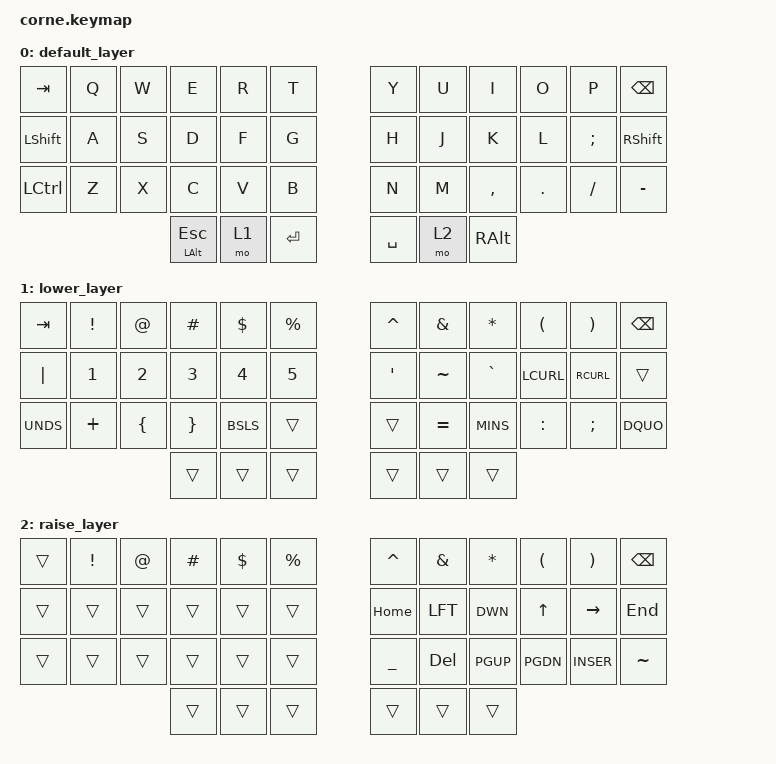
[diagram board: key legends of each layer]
/*
 * Copyright (c) 2020 The ZMK Contributors
 *
 * SPDX-License-Identifier: MIT
 */

#include <behaviors.dtsi>
#include <dt-bindings/zmk/keys.h>
#include <dt-bindings/zmk/bt.h>

/ {
        keymap {
                compatible = "zmk,keymap";

                default_layer {
// -----------------------------------------------------------------------------------------
// |  TAB |  Q  |  W  |  E  |  R  |  T  |   |  Y  |  U   |  I  |  O  |  P  | BSPC |
// | CTRL |  A  |  S  |  D  |  F  |  G  |   |  H  |  J   |  K  |  L  |  ;  |  '   |
// | SHFT |  Z  |  X  |  C  |  V  |  B  |   |  N  |  M   |  ,  |  .  |  /  | ESC  |
//                    | GUI | LWR | SPC |   | ENT | RSE  | ALT |
                        bindings = <
   &kp TAB   &kp Q &kp W &kp E &kp R &kp T   &kp Y &kp U  &kp I     &kp O   &kp P    &kp BSPC
   &kp LSHFT &kp A &kp S &kp D &kp F &kp G   &kp H &kp J  &kp K     &kp L   &kp SEMI &kp RSHFT
   &kp LCTRL &kp Z &kp X &kp C &kp V &kp B   &kp N &kp M  &kp COMMA &kp DOT &kp FSLH &kp MINUS
                  &mt LALT ESC &mo 1 &kp RET   &kp SPACE &mo 2 &kp RALT
                        >;
                };
                lower_layer {
// -----------------------------------------------------------------------------------------
// |  TAB |  1  |  2  |  3  |  4  |  5  |   |  6  |  7  |  8  |  9  |  0  | BSPC |
// | LCTRL| BT1 | BT2 | BT3 | BT4 | BT5 |   | LFT | DWN |  UP | RGT |     |      |
// | SHFT |     |     |     |     |     |   |     |     |     |     |     |      |
//                    | GUI |     | SPC |   | ENT |     | ALT |
                  bindings = <
                    &kp TAB &kp EXCL &kp AT &kp HASH &kp DLLR &kp PRCNT   &kp CARET    &kp AMPS     &kp ASTRK      &kp LPAR     &kp RPAR      &kp BSPC
                    &kp PIPE    &kp 1    &kp 2         &kp 3        &kp 4         &kp 5    &kp QUOT    &kp TILDE     &kp GRAVE     &kp LCURL    &kp RCURL     &trans
                    &kp UNDS    &kp PLUS &kp LBRC      &kp RBRC     &kp BSLS      &trans  &trans      &kp EQUAL     &kp MINS      &kp COLON    &kp SEMI      &kp DQUO
                                  &trans  &trans   &trans                &trans         &trans           &trans
                  >;
                };
                raise_layer {
// -----------------------------------------------------------------------------------------
// |  TAB |  !  |  @  |  #  |  $  |  %  |   |  ^  |  &  |  *  |  (  |  )  | BSPC |
// | CTRL |     |     |     |     |     |   |  -  |  =  |  [  |  ]  |  \  |  `   |
// | SHFT |     |     |     |     |     |   |  _  |  +  |  {  |  }  | "|" |  ~   |
//                    | GUI |     | SPC |   | ENT |     | ALT |
                        bindings = <
   &trans &kp EXCL &kp AT &kp HASH &kp DLLR &kp PRCNT   &kp CARET &kp AMPS  &kp ASTRK &kp LPAR &kp RPAR &kp BSPC
   &trans &trans   &trans &trans   &trans   &trans      &kp HOME &kp LFT &kp DWN  &kp UP &kp RIGHT &kp END
   &trans &trans   &trans &trans   &trans   &trans      &kp UNDER &kp DEL  &kp PGUP  &kp PGDN &kp INSER &kp TILDE
                             &trans &trans   &trans   &trans   &trans    &trans
                        >;
                };
        };
};
